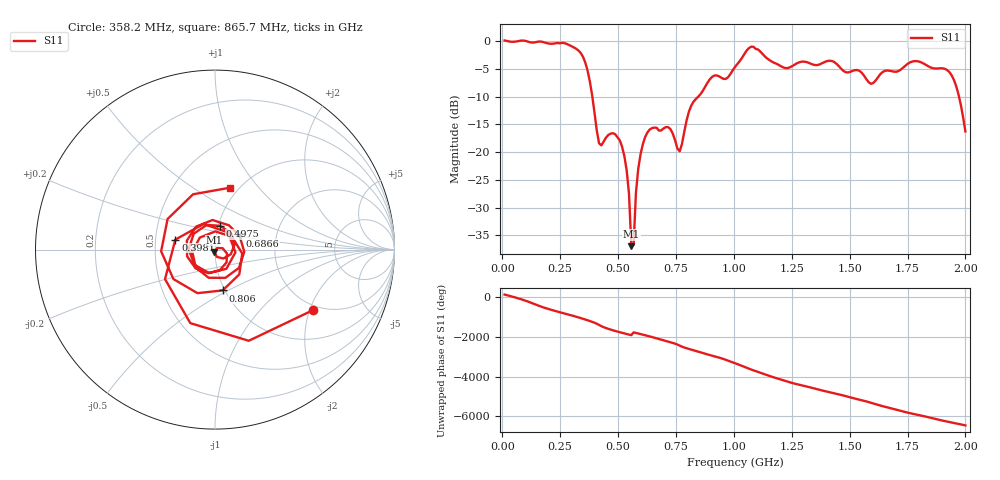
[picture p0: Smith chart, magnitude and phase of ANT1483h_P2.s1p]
!Created with skrf (http://scikit-rf.org).
# Hz S RI R 50.0
!freq ReS11 ImS11
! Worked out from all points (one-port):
!   201 points, 10 MHz to 2 GHz, reference 50 ohm
!   lowest |S11| = -36.9 dB at 557.2 MHz (marker M1), VSWR 1.03, Z = 49.7 - j1.38 ohm
!   |S11| at or under -10 dB: 388.7 MHz to 846.9 MHz (458.1 MHz wide, 74.2 % of centre); 1.972 GHz to end of sweep
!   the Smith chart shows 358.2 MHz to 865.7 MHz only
!   S11 on the Smith chart (normalised r, x): 358.2 MHz: 1.83, -2.10; 398.1 MHz: 0.63, +0.07; 497.6 MHz: 1.02, +0.28; 686.6 MHz: 1.30, +0.20; 806 MHz: 0.98, -0.47; 865.7 MHz: 0.91, +0.72
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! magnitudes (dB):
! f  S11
! 10 MHz  0.1
! 258.8 MHz  -0.3
! 358.2 MHz  -3.9
! 398.1 MHz  -12.8
! 417.9 MHz  -18.4
! 497.6 MHz  -17.3
! 507.5 MHz  -17.9
! 537.4 MHz  -23.3
! 547.3 MHz  -27.6
! 557.2 MHz  -36.9
! 567.2 MHz  -36.7
! 577.1 MHz  -27.3
! 607 MHz  -18.6
! 686.6 MHz  -16.1
! 726.4 MHz  -15.9
! 756.2 MHz  -19.3
! 766.2 MHz  -19.9
! 806 MHz  -12.7
! 865.7 MHz  -9.0
! 1.005 GHz  -4.7
! 1.075 GHz  -1.0
! 1.254 GHz  -4.5
! 1.502 GHz  -5.6
! 1.592 GHz  -7.7
! 1.751 GHz  -4.1
! 1.93 GHz  -5.6
! 1.97 GHz  -9.6
! 2 GHz  -16.3
